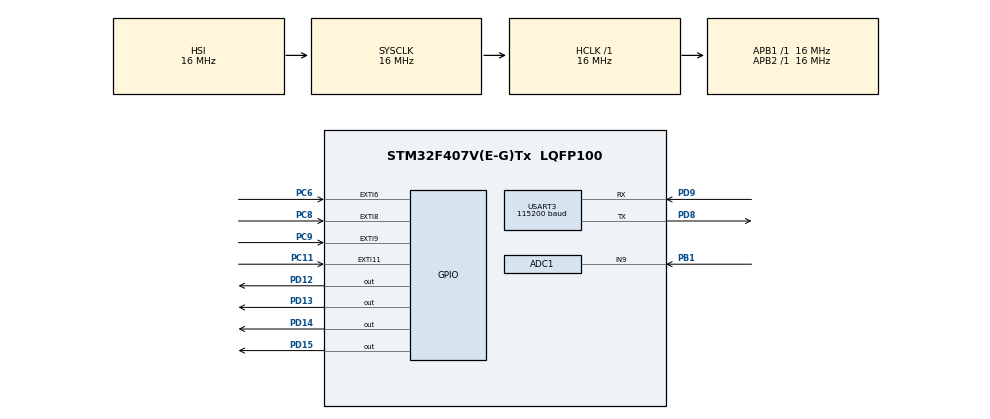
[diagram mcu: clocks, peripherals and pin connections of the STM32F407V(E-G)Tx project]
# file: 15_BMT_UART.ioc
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ADC1.Channel-0\#ChannelRegularConversion=ADC_CHANNEL_9
ADC1.ClockPrescaler=ADC_CLOCK_SYNC_PCLK_DIV8
ADC1.ContinuousConvMode=DISABLE
ADC1.EOCSelection=ADC_EOC_SINGLE_CONV
ADC1.ExternalTrigConv=ADC_SOFTWARE_START
ADC1.NbrOfConversionFlag=1
ADC1.Rank-0\#ChannelRegularConversion=1
ADC1.SamplingTime-0\#ChannelRegularConversion=ADC_SAMPLETIME_480CYCLES
ADC1.master=1
Mcu.Family=STM32F4
Mcu.Name=STM32F407V(E-G)Tx
Mcu.Package=LQFP100
NVIC.EXTI15_10_IRQn=true\:0\:0\:false\:false\:true\:true\:true\:true
NVIC.EXTI9_5_IRQn=true\:0\:0\:false\:false\:true\:true\:true\:true
NVIC.PriorityGroup=NVIC_PRIORITYGROUP_4
NVIC.TIM2_IRQn=true\:0\:0\:false\:false\:true\:true\:true\:true
PB1.Signal=ADCx_IN9
PC11.GPIO_ModeDefaultEXTI=GPIO_MODE_IT_FALLING
PC11.Signal=GPXTI11
PC6.GPIO_ModeDefaultEXTI=GPIO_MODE_IT_FALLING
PC6.GPIO_PuPd=GPIO_NOPULL
PC6.Signal=GPXTI6
PC8.GPIO_ModeDefaultEXTI=GPIO_MODE_IT_FALLING
PC8.Signal=GPXTI8
PC9.GPIO_ModeDefaultEXTI=GPIO_MODE_IT_FALLING
PC9.Signal=GPXTI9
PD12.Signal=GPIO_Output
PD13.Signal=GPIO_Output
PD14.Signal=GPIO_Output
PD15.Signal=GPIO_Output
PD8.Mode=Asynchronous
PD8.Signal=USART3_TX
PD9.Mode=Asynchronous
PD9.Signal=USART3_RX
ProjectManager.HeapSize=0x200
ProjectManager.StackSize=0x400
ProjectManager.TargetToolchain=STM32CubeIDE
RCC.AHBFreq_Value=16000000
RCC.APB1Freq_Value=16000000
RCC.APB2Freq_Value=16000000
RCC.CortexFreq_Value=16000000
RCC.HSE_VALUE=25000000
RCC.HSI_VALUE=16000000
RCC.LSE_VALUE=32768
RCC.SYSCLKFreq_VALUE=16000000
RCC.VCOOutputFreq_Value=192000000
SH.ADCx_IN9.0=ADC1_IN9,IN9
TIM2.Period=1250
TIM2.Prescaler=64000
TIM2.TIM_MasterSlaveMode=TIM_MASTERSLAVEMODE_DISABLE
USART3.BaudRate=115200
USART3.VirtualMode=VM_ASYNC
VP_TIM2_VS_ClockSourceINT.Mode=Internal
board=custom

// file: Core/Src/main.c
/* USER CODE BEGIN Header */
/**
  ******************************************************************************
  * @file           : main.c
  * @brief          : Main program body
  ******************************************************************************
  * @attention
  *
  * Copyright (c) 2023 STMicroelectronics.
  * All rights reserved.
  *
  * This software is licensed under terms that can be found in the LICENSE file
  * in the root directory of this software component.
  * If no LICENSE file comes with this software, it is provided AS-IS.
  *
  ******************************************************************************
  */
/* USER CODE END Header */
#include "main.h"

ADC_HandleTypeDef hadc1;

TIM_HandleTypeDef htim2;

UART_HandleTypeDef huart3;

void SystemClock_Config(void);
static void MX_GPIO_Init(void);
static void MX_USART3_UART_Init(void);
static void MX_ADC1_Init(void);
static void MX_TIM2_Init(void);
/* USER CODE BEGIN PFP */
void temp_to_str(int16_t const temperature, uint8_t *str);
/* USER CODE END PFP */

int main(void)
{

  /* MCU Configuration--------------------------------------------------------*/

  /* Reset of all peripherals, Initializes the Flash interface and the Systick. */
  HAL_Init();

  /* Configure the system clock */
  SystemClock_Config();

  /* Initialize all configured peripherals */
  MX_GPIO_Init();
  MX_USART3_UART_Init();
  MX_ADC1_Init();
  MX_TIM2_Init();

  /* Infinite loop */
  /* USER CODE BEGIN WHILE */

  HAL_TIM_Base_Start_IT(&htim2);
  uint8_t rcvBuf[1];

  while (1)
  {
	  if (HAL_UART_Receive(&huart3, rcvBuf, 1, 10) == HAL_OK){
		  switch (rcvBuf[0]){
		  case 'b': //blue LED
			  HAL_GPIO_TogglePin(GPIOD, GPIO_PIN_15);
			  if (HAL_GPIO_ReadPin(GPIOD, GPIO_PIN_15) == GPIO_PIN_SET){
				  HAL_UART_Transmit(&huart3, (uint8_t *)"Blue ON\n\r", 9, 10);
			  }else{
				  HAL_UART_Transmit(&huart3, (uint8_t *)"Blue OFF\n\r", 10, 10);
			  }
			  break;
		  case 'g': //green LED
			  HAL_GPIO_TogglePin(GPIOD, GPIO_PIN_12);
			  if (HAL_GPIO_ReadPin(GPIOD, GPIO_PIN_12) == GPIO_PIN_SET){
				  HAL_UART_Transmit(&huart3, (uint8_t *)"Green ON\n\r", 10, 10);
			  }else{
				  HAL_UART_Transmit(&huart3, (uint8_t *)"Green OFF\n\r", 11, 10);
			  }
			  break;
		  case 'o': //orange LED
			  HAL_GPIO_TogglePin(GPIOD, GPIO_PIN_13);
			  if (HAL_GPIO_ReadPin(GPIOD, GPIO_PIN_13) == GPIO_PIN_SET){
				  HAL_UART_Transmit(&huart3, (uint8_t *)"Orange ON\n\r", 11, 10);
			  }else{
				  HAL_UART_Transmit(&huart3, (uint8_t *)"Orange OFF\n\r", 12, 10);
			  }
			  break;
		  case 'r': //red LED
			  HAL_GPIO_TogglePin(GPIOD, GPIO_PIN_14);
			  if (HAL_GPIO_ReadPin(GPIOD, GPIO_PIN_14) == GPIO_PIN_SET){
				  HAL_UART_Transmit(&huart3, (uint8_t *)"Red ON\n\r", 8, 10);
			  }else{
				  HAL_UART_Transmit(&huart3, (uint8_t *)"Red OFF\n\r", 9, 10);
			  }
			  break;
		  default:
			  HAL_UART_Transmit(&huart3, (uint8_t *)"UnexpCmd\n\r", 10, 10);
			  break;
		  }

	  }
    /* USER CODE END WHILE */

  }
}

void SystemClock_Config(void)
{
  RCC_OscInitTypeDef RCC_OscInitStruct = {0};
  RCC_ClkInitTypeDef RCC_ClkInitStruct = {0};

  /** Configure the main internal regulator output voltage
  */
  __HAL_RCC_PWR_CLK_ENABLE();
  __HAL_PWR_VOLTAGESCALING_CONFIG(PWR_REGULATOR_VOLTAGE_SCALE1);

  /** Initializes the RCC Oscillators according to the specified parameters
  * in the RCC_OscInitTypeDef structure.
  */
  RCC_OscInitStruct.OscillatorType = RCC_OSCILLATORTYPE_HSI;
  RCC_OscInitStruct.HSIState = RCC_HSI_ON;
  RCC_OscInitStruct.HSICalibrationValue = RCC_HSICALIBRATION_DEFAULT;
  RCC_OscInitStruct.PLL.PLLState = RCC_PLL_NONE;
  if (HAL_RCC_OscConfig(&RCC_OscInitStruct) != HAL_OK)
  {
    Error_Handler();
  }

  /** Initializes the CPU, AHB and APB buses clocks
  */
  RCC_ClkInitStruct.ClockType = RCC_CLOCKTYPE_HCLK|RCC_CLOCKTYPE_SYSCLK
                              |RCC_CLOCKTYPE_PCLK1|RCC_CLOCKTYPE_PCLK2;
  RCC_ClkInitStruct.SYSCLKSource = RCC_SYSCLKSOURCE_HSI;
  RCC_ClkInitStruct.AHBCLKDivider = RCC_SYSCLK_DIV1;
  RCC_ClkInitStruct.APB1CLKDivider = RCC_HCLK_DIV1;
  RCC_ClkInitStruct.APB2CLKDivider = RCC_HCLK_DIV1;

  if (HAL_RCC_ClockConfig(&RCC_ClkInitStruct, FLASH_LATENCY_0) != HAL_OK)
  {
    Error_Handler();
  }
}

static void MX_ADC1_Init(void)
{

  ADC_ChannelConfTypeDef sConfig = {0};

  /** Configure the global features of the ADC (Clock, Resolution, Data Alignment and number of conversion)
  */
  hadc1.Instance = ADC1;
  hadc1.Init.ClockPrescaler = ADC_CLOCK_SYNC_PCLK_DIV8;
  hadc1.Init.Resolution = ADC_RESOLUTION_12B;
  hadc1.Init.ScanConvMode = DISABLE;
  hadc1.Init.ContinuousConvMode = DISABLE;
  hadc1.Init.DiscontinuousConvMode = DISABLE;
  hadc1.Init.ExternalTrigConvEdge = ADC_EXTERNALTRIGCONVEDGE_NONE;
  hadc1.Init.ExternalTrigConv = ADC_SOFTWARE_START;
  hadc1.Init.DataAlign = ADC_DATAALIGN_RIGHT;
  hadc1.Init.NbrOfConversion = 1;
  hadc1.Init.DMAContinuousRequests = DISABLE;
  hadc1.Init.EOCSelection = ADC_EOC_SINGLE_CONV;
  if (HAL_ADC_Init(&hadc1) != HAL_OK)
  {
    Error_Handler();
  }

  /** Configure for the selected ADC regular channel its corresponding rank in the sequencer and its sample time.
  */
  sConfig.Channel = ADC_CHANNEL_9;
  sConfig.Rank = 1;
  sConfig.SamplingTime = ADC_SAMPLETIME_480CYCLES;
  if (HAL_ADC_ConfigChannel(&hadc1, &sConfig) != HAL_OK)
  {
    Error_Handler();
  }

}

static void MX_TIM2_Init(void)
{

  TIM_ClockConfigTypeDef sClockSourceConfig = {0};
  TIM_MasterConfigTypeDef sMasterConfig = {0};

  htim2.Instance = TIM2;
  htim2.Init.Prescaler = 64000;
  htim2.Init.CounterMode = TIM_COUNTERMODE_UP;
  htim2.Init.Period = 1250;
  htim2.Init.ClockDivision = TIM_CLOCKDIVISION_DIV1;
  htim2.Init.AutoReloadPreload = TIM_AUTORELOAD_PRELOAD_DISABLE;
  if (HAL_TIM_Base_Init(&htim2) != HAL_OK)
  {
    Error_Handler();
  }
  sClockSourceConfig.ClockSource = TIM_CLOCKSOURCE_INTERNAL;
  if (HAL_TIM_ConfigClockSource(&htim2, &sClockSourceConfig) != HAL_OK)
  {
    Error_Handler();
  }
  sMasterConfig.MasterOutputTrigger = TIM_TRGO_RESET;
  sMasterConfig.MasterSlaveMode = TIM_MASTERSLAVEMODE_DISABLE;
  if (HAL_TIMEx_MasterConfigSynchronization(&htim2, &sMasterConfig) != HAL_OK)
  {
    Error_Handler();
  }

}

static void MX_USART3_UART_Init(void)
{

  huart3.Instance = USART3;
  huart3.Init.BaudRate = 115200;
  huart3.Init.WordLength = UART_WORDLENGTH_8B;
  huart3.Init.StopBits = UART_STOPBITS_1;
  huart3.Init.Parity = UART_PARITY_NONE;
  huart3.Init.Mode = UART_MODE_TX_RX;
  huart3.Init.HwFlowCtl = UART_HWCONTROL_NONE;
  huart3.Init.OverSampling = UART_OVERSAMPLING_16;
  if (HAL_UART_Init(&huart3) != HAL_OK)
  {
    Error_Handler();
  }

}

static void MX_GPIO_Init(void)
{
  GPIO_InitTypeDef GPIO_InitStruct = {0};

  /* GPIO Ports Clock Enable */
  __HAL_RCC_GPIOB_CLK_ENABLE();
  __HAL_RCC_GPIOD_CLK_ENABLE();
  __HAL_RCC_GPIOC_CLK_ENABLE();

  /*Configure GPIO pin Output Level */
  HAL_GPIO_WritePin(GPIOD, GPIO_PIN_12|GPIO_PIN_13|GPIO_PIN_14|GPIO_PIN_15, GPIO_PIN_RESET);

  /*Configure GPIO pins : PD12 PD13 PD14 PD15 */
  GPIO_InitStruct.Pin = GPIO_PIN_12|GPIO_PIN_13|GPIO_PIN_14|GPIO_PIN_15;
  GPIO_InitStruct.Mode = GPIO_MODE_OUTPUT_PP;
  GPIO_InitStruct.Pull = GPIO_NOPULL;
  GPIO_InitStruct.Speed = GPIO_SPEED_FREQ_LOW;
  HAL_GPIO_Init(GPIOD, &GPIO_InitStruct);

  /*Configure GPIO pins : PC6 PC8 PC9 PC11 */
  GPIO_InitStruct.Pin = GPIO_PIN_6|GPIO_PIN_8|GPIO_PIN_9|GPIO_PIN_11;
  GPIO_InitStruct.Mode = GPIO_MODE_IT_FALLING;
  GPIO_InitStruct.Pull = GPIO_NOPULL;
  HAL_GPIO_Init(GPIOC, &GPIO_InitStruct);

  /* EXTI interrupt init*/
  HAL_NVIC_SetPriority(EXTI9_5_IRQn, 0, 0);
  HAL_NVIC_EnableIRQ(EXTI9_5_IRQn);

  HAL_NVIC_SetPriority(EXTI15_10_IRQn, 0, 0);
  HAL_NVIC_EnableIRQ(EXTI15_10_IRQn);

}

/* USER CODE BEGIN 4 */

/**
  * @brief  Convert temperature number into char[] and store in str.
  *
  * @note   size of str should be more than or equal to len of text message + 6
  *
  * @param  temperature - temperature in dC to convert
  * @param  str - pointer to str buffer
  *
  * @retval None
  */
void temp_to_str(int16_t const temperature, uint8_t *str){
	uint8_t const text[] = "Temperature: ";
	uint8_t const text_len = sizeof(text) - 1;

	for (uint8_t i = 0; i < text_len; i++){
		str[i] = text[i];
	}

	/* fill array with the temperature
	 * for example: 432.1
	 */
	uint8_t minus_pos = text_len;

	if (temperature / 1000){                         //4
		str[text_len + 1] = '0' + temperature / 1000;
	}else{
		str[text_len + 1] = ' ';
		minus_pos++;
	}

	if (temperature / 100 % 10){                     //3
		str[text_len + 2] = '0' + temperature / 100 % 10;
	}else{
		str[text_len + 2] = ' ';
		minus_pos++;
	}

	str[minus_pos] = (temperature < 0) ? '-' : ' ';

	str[text_len + 3] = '0' + temperature / 10 % 10; //2
	str[text_len + 4] = '.';                         //.
	str[text_len + 5] = '0' + temperature % 10;      //1
	str[text_len + 6] = '\n';
	str[text_len + 7] = '\r';
}

void HAL_GPIO_EXTI_Callback(uint16_t GPIO_Pin)
{
	switch (GPIO_Pin){
	case GPIO_PIN_6: //SWT4 - red LED
		HAL_GPIO_TogglePin(GPIOD, GPIO_PIN_14);
		if (HAL_GPIO_ReadPin(GPIOD, GPIO_PIN_14) == GPIO_PIN_SET){
		  HAL_UART_Transmit(&huart3, (uint8_t *)"Red ON\n\r", 8, 10);
		}else{
		  HAL_UART_Transmit(&huart3, (uint8_t *)"Red OFF\n\r", 9, 10);
		}
		break;
	case GPIO_PIN_8: //SWT5 - green LED
		HAL_GPIO_TogglePin(GPIOD, GPIO_PIN_12);
		if (HAL_GPIO_ReadPin(GPIOD, GPIO_PIN_12) == GPIO_PIN_SET){
		  HAL_UART_Transmit(&huart3, (uint8_t *)"Green ON\n\r", 10, 10);
		}else{
		  HAL_UART_Transmit(&huart3, (uint8_t *)"Green OFF\n\r", 11, 10);
		}
		break;
	case GPIO_PIN_9: //SWT3 - orange LED
		HAL_GPIO_TogglePin(GPIOD, GPIO_PIN_13);
		if (HAL_GPIO_ReadPin(GPIOD, GPIO_PIN_13) == GPIO_PIN_SET){
		  HAL_UART_Transmit(&huart3, (uint8_t *)"Orange ON\n\r", 11, 10);
		}else{
		  HAL_UART_Transmit(&huart3, (uint8_t *)"Orange OFF\n\r", 12, 10);
		}
		break;
	case GPIO_PIN_11: //SWT1 - blue LED
		HAL_GPIO_TogglePin(GPIOD, GPIO_PIN_15);
		if (HAL_GPIO_ReadPin(GPIOD, GPIO_PIN_15) == GPIO_PIN_SET){
		  HAL_UART_Transmit(&huart3, (uint8_t *)"Blue ON\n\r", 9, 10);
		}else{
		  HAL_UART_Transmit(&huart3, (uint8_t *)"Blue OFF\n\r", 10, 10);
		}
		break;
	}
}

void HAL_TIM_PeriodElapsedCallback(TIM_HandleTypeDef *htim){
	static uint32_t adcValue = 0;
	HAL_ADC_Start(&hadc1);
	while(HAL_ADC_PollForConversion(&hadc1, 10) != HAL_OK);
	adcValue = HAL_ADC_GetValue(&hadc1);

	/* find the temperature in dC (max accuracy -0.1С)
	 * 101C - temperature at 0V (min voltage)
	 * 3000mV - max voltage
	 * 4095 - max adcValue
	 * 20mV - per 1C, 2mV per 1dC
	 *
	 * using dC instead of C to make calculations without float
	 */
	static int16_t temperature = 0;
	temperature = 1010 - (adcValue * 3000 / 4095) / 2;

	/* uncomment to compare with more accurate value */
//  static float temperature_float = 0;
//	temperature_float = 101 - ((float)adcValue * 3000 / 4095) / 20;

	//convert temperature number to string and transmit via UART
	uint8_t temp_str[25] = {0};
	temp_to_str(temperature, temp_str);

	HAL_UART_Transmit(&huart3, temp_str, 25, 10);
}

/* USER CODE END 4 */

void Error_Handler(void)
{
  __disable_irq();
  while (1)
  {
  }
}
